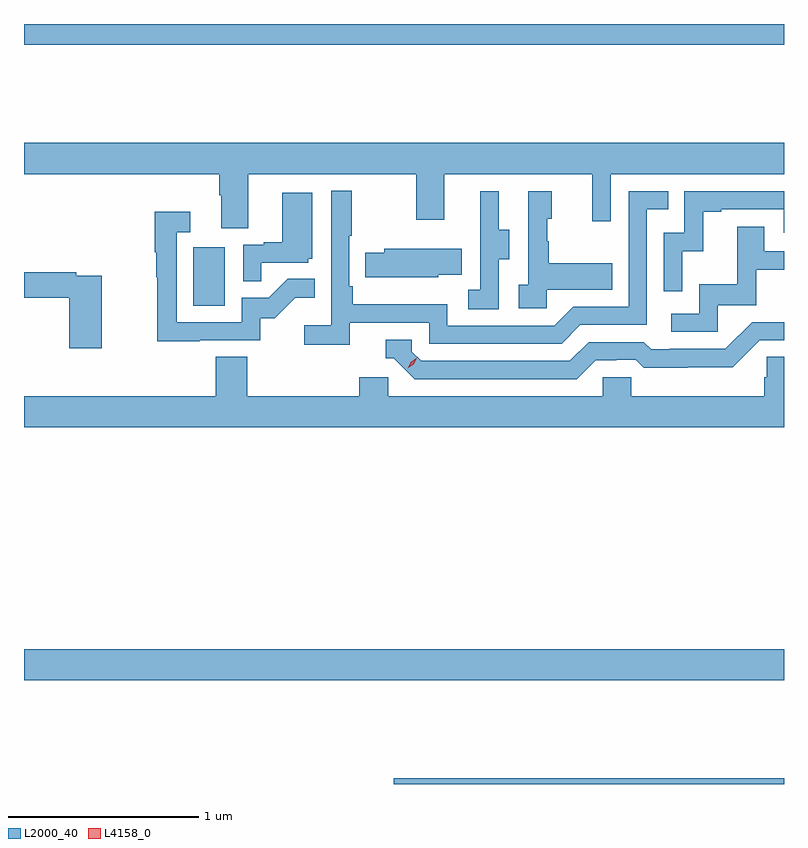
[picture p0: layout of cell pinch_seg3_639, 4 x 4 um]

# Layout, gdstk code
import gdstk
lib = gdstk.Library(unit=1e-6, precision=1e-09)
def R(c, l, rs):  # rectangles x0, y0, x1, y1
    for r in rs: c.add(gdstk.rectangle(r[:2], r[2:], *l))
def P(c, l, *ps):  # polygons
    for p in ps: c.add(gdstk.Polygon(p, *l))
L2000_40 = (2000, 40)
L4158_0 = (4158, 0)

pinch_seg3_639 = lib.new_cell('pinch_seg3_639')
R(pinch_seg3_639, L2000_40, [(1020.407,683.054,1022.462,683.084), (1018.462,683.6,1022.462,683.764), (1019.354,685.572,1019.518,685.879), (1018.462,686.944,1022.462,687.054)])
P(pinch_seg3_639, L2000_40, [(1018.462,686.264),(1019.489,686.264),(1019.489,686.152),(1019.501,686.152),(1019.501,685.978),(1019.641,685.978),(1019.641,686.264),(1020.526,686.264),(1020.526,686.025),(1020.673,686.025),(1020.673,686.264),(1021.454,686.264),(1021.454,686.016),(1021.551,686.016),(1021.551,686.264),(1022.462,686.264),(1022.462,686.428),(1018.462,686.428)],
  [(1020.176,685.482),(1020.594,685.482),(1020.594,685.371),(1021.291,685.371),(1021.39,685.47),(1021.74,685.47),(1021.74,686.079),(1021.853,686.079),(1021.853,686.175),(1021.644,686.175),(1021.644,685.566),(1021.353,685.566),(1021.254,685.467),(1020.69,685.467),(1020.69,685.579),(1020.193,685.579),(1020.193,685.675),(1020.174,685.675),(1020.174,685.939),(1020.187,685.939),(1020.187,686.176),(1020.078,686.176),(1020.078,685.468),(1019.937,685.468),(1019.937,685.366),(1020.176,685.366)],
  [(1021.926,685.859),(1022.036,685.859),(1022.036,686.067),(1022.131,686.067),(1022.131,686.079),(1022.46,686.079),(1022.46,685.956),(1022.462,685.956),(1022.462,686.175),(1021.938,686.175),(1021.938,685.956),(1021.83,685.956),(1021.83,685.647),(1021.926,685.647)],
  [(1020.96,685.816),(1021.015,685.816),(1021.015,685.971),(1020.961,685.971),(1020.961,686.173),(1020.863,686.173),(1020.863,685.959),(1020.864,685.959),(1020.864,685.655),(1020.801,685.655),(1020.801,685.552),(1020.96,685.552)],
  [(1021.212,685.655),(1021.559,685.655),(1021.559,685.795),(1021.225,685.795),(1021.225,685.91),(1021.215,685.91),(1021.215,686.028),(1021.24,686.028),(1021.24,686.173),(1021.116,686.173),(1021.116,685.682),(1021.065,685.682),(1021.065,685.557),(1021.212,685.557)],
  [(1019.711,685.797),(1019.958,685.797),(1019.958,685.818),(1019.98,685.818),(1019.98,686.167),(1019.822,686.167),(1019.822,685.906),(1019.723,685.906),(1019.723,685.893),(1019.616,685.893),(1019.616,685.699),(1019.711,685.699)],
  [(1019.387,685.389),(1019.706,685.389),(1019.706,685.506),(1019.782,685.506),(1019.889,685.613),(1019.993,685.613),(1019.993,685.712),(1019.849,685.712),(1019.751,685.614),(1019.607,685.614),(1019.607,685.485),(1019.265,685.485),(1019.265,685.959),(1019.338,685.959),(1019.338,686.065),(1019.149,686.065),(1019.149,685.852),(1019.157,685.852),(1019.157,685.722),(1019.164,685.722),(1019.164,685.384),(1019.387,685.384)],
  [(1022.112,685.575),(1022.317,685.575),(1022.317,685.761),(1022.462,685.761),(1022.462,685.857),(1022.359,685.857),(1022.359,685.987),(1022.215,685.987),(1022.215,685.684),(1022.016,685.684),(1022.016,685.53),(1021.869,685.53),(1021.869,685.434),(1022.112,685.434)],
  [(1020.642,685.733),(1020.767,685.733),(1020.767,685.87),(1020.357,685.87),(1020.357,685.851),(1020.259,685.851),(1020.259,685.721),(1020.642,685.721)],
  [(1018.87,685.728),(1018.736,685.728),(1018.736,685.748),(1018.462,685.748),(1018.462,685.612),(1018.7,685.612),(1018.7,685.347),(1018.87,685.347)],
  [(1021.471,685.284),(1021.578,685.284),(1021.578,685.287),(1021.681,685.287),(1021.723,685.245),(1021.956,685.245),(1021.956,685.247),(1022.192,685.247),(1022.334,685.389),(1022.462,685.389),(1022.462,685.485),(1022.295,685.485),(1022.154,685.344),(1021.861,685.344),(1021.861,685.341),(1021.762,685.341),(1021.723,685.38),(1021.434,685.38),(1021.335,685.281),(1020.552,685.281),(1020.504,685.329),(1020.504,685.392),(1020.365,685.392),(1020.365,685.296),(1020.408,685.296),(1020.519,685.185),(1021.372,685.185)],
  [(1022.462,685.304),(1022.371,685.304),(1022.371,685.194),(1022.357,685.194),(1022.357,685.096),(1021.659,685.096),(1021.659,685.194),(1021.509,685.194),(1021.509,685.096),(1020.378,685.096),(1020.378,685.194),(1020.227,685.194),(1020.227,685.096),(1019.636,685.096),(1019.636,685.304),(1019.471,685.304),(1019.471,685.096),(1018.462,685.096),(1018.462,684.932),(1022.462,684.932)])
P(pinch_seg3_639, L4158_0, [(1020.482,685.242),(1020.482,685.242),(1020.497,685.275),(1020.527,685.295),(1020.528,685.295),(1020.528,685.295),(1020.512,685.262),(1020.482,685.242)])

lib.write_gds('pinch_seg3_639.gds')
